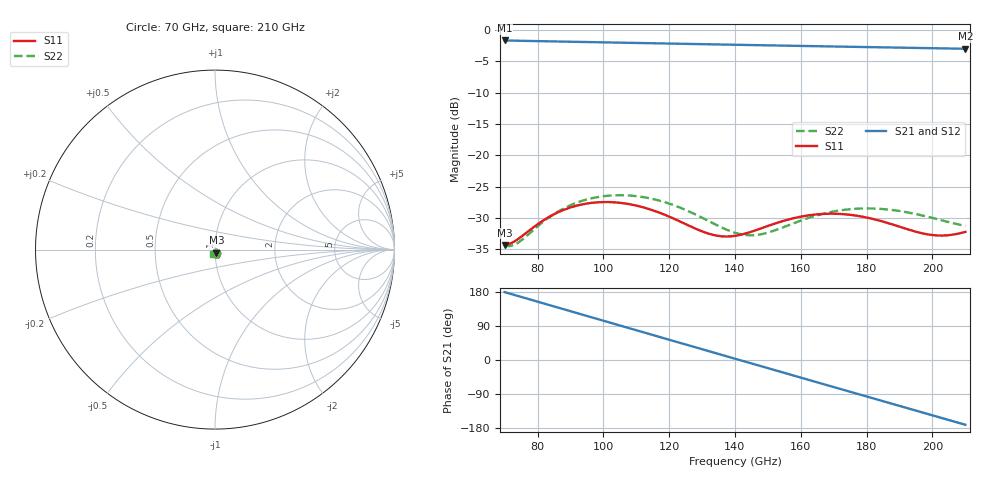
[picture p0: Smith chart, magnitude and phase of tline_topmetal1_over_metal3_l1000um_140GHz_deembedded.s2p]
! Created with skrf 2.2.0 (http://scikit-rf.org).
# GHz S DB R 50.0
! Port[1] = P1
! Port[2] = P2
!freq dBS11 angS11 dBS21 angS21 dBS12 angS12 dBS22 angS22
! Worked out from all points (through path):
!   101 points, 70 GHz to 210 GHz, reference 50 ohm
!   highest |S21| = -1.70 dB at 70 GHz (marker M1); lowest = -3.0 dB at 210 GHz (marker M2)
!   group delay of S21, straight-line fit = 6.95 ps
!   lowest |S11| = -34.3 dB at 70 GHz (marker M3), VSWR 1.04, Z = 50.8 - j1.78 ohm
!   |S11| at or under -10 dB: start of sweep to end of sweep
!   |S22| runs from -34.5 to -26.4 dB; largest |S21 - S12| = 9e-14
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70  -34.30 -65.6  -1.70 179.2  -1.70 179.2  -34.40 -78.2
74.2  -33.32 -49.8  -1.74 168.6  -1.74 168.6  -33.91 -58.3
81.2  -30.58 -42.2  -1.82 151.0  -1.82 151.0  -30.83 -45.8
88.2  -28.66 -47.2  -1.89 133.4  -1.89 133.4  -28.42 -49.6
93.8  -27.81 -54.4  -1.94 119.3  -1.94 119.3  -27.23 -57.0
99.4  -27.47 -62.6  -1.99 105.2  -1.99 105.2  -26.58 -65.7
105  -27.58 -70.8  -2.05 91.1  -2.05 91.1  -26.37 -74.9
110.6  -28.10 -78.3  -2.10 77.1  -2.10 77.1  -26.56 -83.9
117.6  -29.27 -85.5  -2.17 59.5  -2.17 59.5  -27.32 -94.0
128.8  -31.88 -86.1  -2.28 31.5  -2.28 31.5  -29.65 -103.9
134.4  -32.82 -79.4  -2.33 17.5  -2.33 17.5  -31.12 -103.4
140  -32.85 -70.7  -2.39 3.5  -2.39 3.5  -32.36 -97.7
145.6  -32.08 -64.8  -2.44 -10.5  -2.44 -10.5  -32.75 -88.2
151.2  -31.06 -63.5  -2.49 -24.5  -2.49 -24.5  -32.14 -80.3
156.8  -30.17 -65.8  -2.54 -38.5  -2.54 -38.5  -31.05 -77.0
163.8  -29.49 -71.6  -2.61 -56.0  -2.61 -56.0  -29.76 -78.8
169.4  -29.32 -77.2  -2.66 -69.9  -2.66 -69.9  -29.03 -83.1
175  -29.50 -82.7  -2.71 -83.9  -2.71 -83.9  -28.60 -88.5
180.6  -30.00 -87.3  -2.76 -97.8  -2.76 -97.8  -28.48 -94.4
187.6  -30.99 -90.4  -2.82 -115.2  -2.82 -115.2  -28.72 -101.3
198.8  -32.64 -84.8  -2.92 -143.1  -2.92 -143.1  -29.84 -109.0
210  -32.21 -71.9  -3.02 -170.9  -3.02 -170.9  -31.27 -109.1
